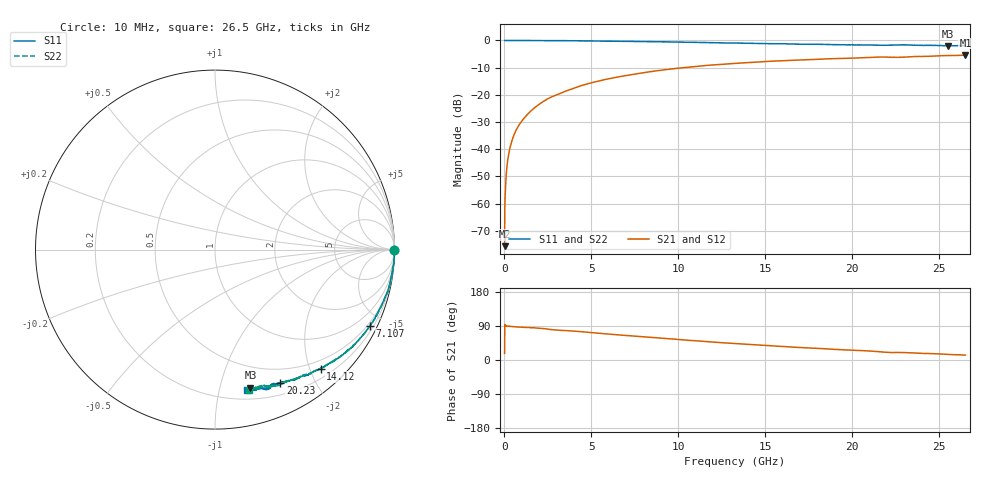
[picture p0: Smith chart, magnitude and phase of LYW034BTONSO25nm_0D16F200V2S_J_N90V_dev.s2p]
!Keysight Technologies,N5222B,MY61253708,A.15.00.15
!Date: Wednesday, June 19, 2024 09:31:49
!Correction: S11(C  2-Port  )
!S21(C  2-Port  )
!S12(C  2-Port  )
!S22(C  2-Port  )
!S2P File: Measurements: S11, S21, S12, S22:
# Hz S  RI  R 50
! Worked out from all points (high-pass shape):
!   2651 points, 10 MHz to 26.5 GHz, reference 50 ohm
!   highest |S21| = -5.38 dB at 26.5 GHz (marker M1); lowest = -75.7 dB at 10 MHz (marker M2)
!   |S21| within 3 dB of the highest: 13.39 GHz to end of sweep
!   lowest |S11| = -2.0 dB at 25.5 GHz (marker M3), VSWR 8.71, Z = 15 - j62.2 ohm
!   |S11| at or under -10 dB: nowhere
!   |S22| runs from -2.0 to 0.0 dB; largest |S21 - S12| = 0.0069
!   S11 on the Smith chart (normalised r, x): 10 MHz: open; 7.107 GHz: 0.37, -4.26; 14.12 GHz: 0.35, -2.18; 20.23 GHz: 0.33, -1.56; 26.5 GHz: 0.27, -1.22
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1e7  0.9986 -0.00236  0.000157 5.01e-05  0.000266 0.000299  0.9987 -0.000696
7.997358e7  0.9999 -0.00577  3.2e-05 0.00265  -4.39e-05 0.00271  0.9993 -0.00531
1.499472e8  1 -0.011  4.79e-05 0.00501  5.59e-05 0.00505  0.9995 -0.0104
1.799358e8  1 -0.0121  7e-05 0.006  7.12e-05 0.00608  0.9996 -0.0117
2.29917e8  0.9995 -0.0161  0.000153 0.0077  0.000104 0.00772  0.9992 -0.0153
3.19883e8  0.9995 -0.0217  0.000244 0.0107  0.000266 0.0108  0.9993 -0.0209
4.49834e8  0.9991 -0.0308  0.000474 0.015  0.000444 0.0151  0.9989 -0.0301
5.997774e8  0.9987 -0.0404  0.00077 0.02  0.000804 0.0202  0.999 -0.0401
7.897057e8  0.998 -0.0533  0.00139 0.0262  0.00141 0.0264  0.9976 -0.0528
1.429464e9  0.9902 -0.0972  0.00335 0.0474  0.0035 0.0477  0.9932 -0.0944
2.319128e9  0.9815 -0.1521  0.01 0.0779  0.0103 0.0785  0.9826 -0.1532
3.138819e9  0.9706 -0.2047  0.0207 0.1027  0.021 0.1033  0.971 -0.204
4.428332e9  0.9415 -0.2821  0.0392 0.1426  0.0396 0.1436  0.9427 -0.2802
7.107321e9  0.863 -0.4255  0.0996 0.2068  0.1012 0.2077  0.8635 -0.4253
8.846664e9  0.8 -0.5037  0.1469 0.2374  0.1487 0.2381  0.8004 -0.5031
1.3255e10  0.6231 -0.6428  0.2748 0.2605  0.2774 0.2601  0.6248 -0.642
1.412467e10  0.588 -0.6637  0.2977 0.2573  0.3001 0.2571  0.5911 -0.66
1.767333e10  0.4506 -0.7205  0.3805 0.2317  0.3843 0.2298  0.459 -0.7182
2.023237e10  0.3648 -0.7427  0.4312 0.2034  0.4336 0.2011  0.3758 -0.7418
2.209166e10  0.3159 -0.7521  0.4624 0.1691  0.4644 0.1658  0.3077 -0.758
2.550038e10  0.1974 -0.7691  0.5107 0.1323  0.5124 0.1316  0.2158 -0.7715
2.65e10  0.1783 -0.7836  0.5243 0.1213  0.5238 0.117  0.1894 -0.7811
